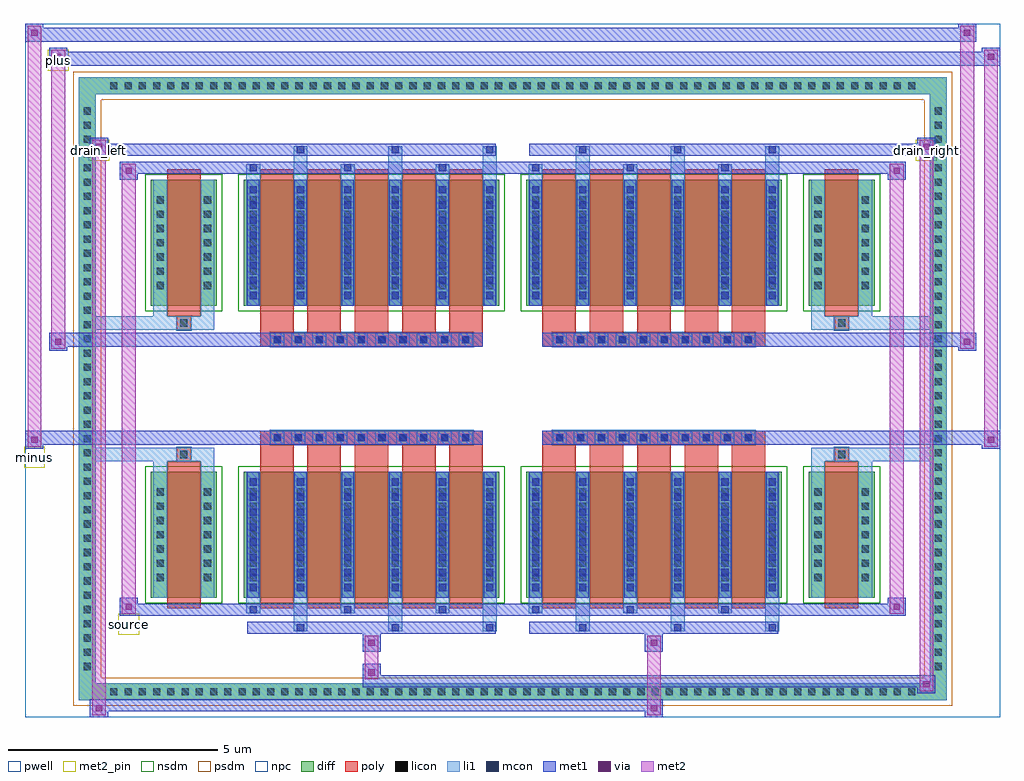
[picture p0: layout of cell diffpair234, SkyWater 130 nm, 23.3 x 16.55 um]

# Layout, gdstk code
import gdstk
lib = gdstk.Library(unit=1e-6, precision=5e-09)
def R(c, l, rs):  # rectangles x0, y0, x1, y1
    for r in rs: c.add(gdstk.rectangle(r[:2], r[2:], *l))
def A(c, l, x, y, w, h, nx, ny, dx, dy):  # array of equal rectangles
    R(c, l, [(x+i*dx, y+j*dy, x+i*dx+w, y+j*dy+h) for i in range(nx) for j in range(ny)])
def P(c, l, *ps):  # polygons
    for p in ps: c.add(gdstk.Polygon(p, *l))
pwell = (64, 44)
diff = (65, 20)
poly = (66, 20)
licon = (66, 44)
li1 = (67, 20)
mcon = (67, 44)
met1 = (68, 20)
via = (68, 44)
met2_pin = (69, 16)
met2 = (69, 20)
nsdm = (93, 44)
psdm = (94, 20)
npc = (95, 20)

diffpair234 = lib.new_cell('diffpair234')
R(diffpair234, pwell, [(-11.63,-7.84,11.63,8.71), (-8.95,-6.03,-0.01,-0.805), (0.01,-6.03,8.95,-0.805), (-8.95,0.805,-0.01,6.03), (0.01,0.805,8.95,6.03)])
A(diffpair234, diff, -9.725, -7.44, 0.41, 0.41, 57, 2, 0.34, 14.47)
A(diffpair234, diff, -10.36, -6.835, 0.41, 0.41, 1, 40, 0, 0.34)
A(diffpair234, diff, 9.95, -6.835, 0.41, 0.41, 1, 40, 0, 0.34)
R(diffpair234, diff, [(-9.725,-7.44,9.725,-7.03), (-10.36,-6.835,-9.95,6.835), (9.95,-6.835,10.36,6.835), (-8.64,-4.985,-7.06,-1.985), (-6.42,-4.985,-0.32,-1.985), (0.32,-4.985,6.42,-1.985), (7.06,-4.985,8.64,-1.985), (-8.64,1.985,-7.06,4.985), (-6.42,1.985,-0.32,4.985), (0.32,1.985,6.42,4.985), (7.06,1.985,8.64,4.985), (-9.725,7.03,9.725,7.44)])
P(diffpair234, diff, [(10.36,7.44),(-10.36,7.44),(-10.36,-7.03),(-9.95,-7.03),(-9.95,7.03),(9.95,7.03),(9.95,-7.03),(-9.95,-7.03),(-10.36,-7.03),(-10.36,-7.44),(10.36,-7.44)])
A(diffpair234, poly, -6.03, -5.235, 0.8, 3.5, 5, 2, 1.13, 6.97)
A(diffpair234, poly, 0.71, -5.235, 0.8, 3.5, 5, 2, 1.13, 6.97)
A(diffpair234, poly, -6.03, -1.735, 0.8, 0.4, 5, 2, 1.13, 3.07)
A(diffpair234, poly, 0.71, -1.735, 0.8, 0.4, 5, 2, 1.13, 3.07)
A(diffpair234, poly, -5.785, -1.335, 0.33, 0.33, 10, 2, 0.5, 2.34)
A(diffpair234, poly, 0.955, -1.335, 0.33, 0.33, 10, 2, 0.5, 2.34)
R(diffpair234, poly, [(-8.25,-5.235,-7.45,-1.735), (7.45,-5.235,8.25,-1.735), (-8.015,-1.735,-7.685,-1.405), (-8.015,-1.735,-7.685,-1.405), (7.685,-1.735,8.015,-1.405), (7.685,-1.735,8.015,-1.405), (-6.03,-1.335,-0.71,-1.005), (0.71,-1.335,6.03,-1.005), (-6.03,1.005,-0.71,1.335), (0.71,1.005,6.03,1.335), (-8.015,1.405,-7.685,1.735), (-8.015,1.405,-7.685,1.735), (7.685,1.405,8.015,1.735), (7.685,1.405,8.015,1.735), (-8.25,1.735,-7.45,5.235), (7.45,1.735,8.25,5.235)])
A(diffpair234, licon, -9.605, -7.32, 0.17, 0.17, 57, 2, 0.34, 14.47)
A(diffpair234, licon, -10.24, -6.715, 0.17, 0.17, 1, 40, 0, 0.34)
A(diffpair234, licon, 10.07, -6.715, 0.17, 0.17, 1, 40, 0, 0.34)
A(diffpair234, licon, -8.5, -4.59, 0.17, 0.17, 1, 7, 0, 0.34)
A(diffpair234, licon, -7.37, -4.59, 0.17, 0.17, 1, 7, 0, 0.34)
A(diffpair234, licon, -6.28, -4.59, 0.17, 0.17, 6, 7, 1.13, 0.34)
A(diffpair234, licon, 0.46, -4.59, 0.17, 0.17, 6, 7, 1.13, 0.34)
A(diffpair234, licon, 7.2, -4.59, 0.17, 0.17, 1, 7, 0, 0.34)
A(diffpair234, licon, 8.33, -4.59, 0.17, 0.17, 1, 7, 0, 0.34)
A(diffpair234, licon, -5.705, -1.255, 0.17, 0.17, 10, 2, 0.5, 2.34)
A(diffpair234, licon, 1.035, -1.255, 0.17, 0.17, 10, 2, 0.5, 2.34)
A(diffpair234, licon, -8.5, 2.38, 0.17, 0.17, 1, 7, 0, 0.34)
A(diffpair234, licon, -7.37, 2.38, 0.17, 0.17, 1, 7, 0, 0.34)
A(diffpair234, licon, -6.28, 2.38, 0.17, 0.17, 6, 7, 1.13, 0.34)
A(diffpair234, licon, 0.46, 2.38, 0.17, 0.17, 6, 7, 1.13, 0.34)
A(diffpair234, licon, 7.2, 2.38, 0.17, 0.17, 1, 7, 0, 0.34)
A(diffpair234, licon, 8.33, 2.38, 0.17, 0.17, 1, 7, 0, 0.34)
R(diffpair234, licon, [(-7.935,-1.655,-7.765,-1.485), (7.765,-1.655,7.935,-1.485), (-7.935,1.485,-7.765,1.655), (7.765,1.485,7.935,1.655)])
A(diffpair234, li1, -9.685, -7.4, 0.33, 0.33, 57, 2, 0.34, 14.47)
A(diffpair234, li1, -10.32, -6.795, 0.33, 0.33, 1, 40, 0, 0.34)
A(diffpair234, li1, 9.99, -6.795, 0.33, 0.33, 1, 40, 0, 0.34)
A(diffpair234, li1, -5.23, -5.79, 0.33, 0.805, 3, 2, 2.26, 10.775)
A(diffpair234, li1, -5.15, -5.79, 0.17, 0.17, 3, 2, 2.26, 11.41)
A(diffpair234, li1, 1.51, -5.79, 0.33, 0.805, 3, 2, 2.26, 10.775)
A(diffpair234, li1, 1.59, -5.79, 0.17, 0.17, 3, 2, 2.26, 11.41)
A(diffpair234, li1, -6.36, -5.36, 0.33, 0.375, 3, 2, 2.26, 10.345)
A(diffpair234, li1, -6.28, -5.36, 0.17, 0.17, 3, 2, 2.26, 10.55)
A(diffpair234, li1, 0.38, -5.36, 0.33, 0.375, 3, 2, 2.26, 10.345)
A(diffpair234, li1, 0.46, -5.36, 0.17, 0.17, 3, 2, 2.26, 10.55)
A(diffpair234, li1, -6.36, -4.985, 0.33, 3, 6, 2, 1.13, 6.97)
A(diffpair234, li1, 0.38, -4.985, 0.33, 3, 6, 2, 1.13, 6.97)
A(diffpair234, li1, -6.28, -4.83, 0.17, 0.17, 6, 8, 1.13, 0.36)
A(diffpair234, li1, -6.28, -4.83, 0.17, 2.69, 6, 2, 1.13, 6.97)
A(diffpair234, li1, 0.46, -4.83, 0.17, 0.17, 6, 8, 1.13, 0.36)
A(diffpair234, li1, 0.46, -4.83, 0.17, 2.69, 6, 2, 1.13, 6.97)
A(diffpair234, li1, -8.58, -4.67, 0.33, 0.33, 1, 7, 0, 0.34)
A(diffpair234, li1, -7.45, -4.67, 0.33, 0.33, 1, 7, 0, 0.34)
A(diffpair234, li1, -6.36, -4.67, 0.33, 0.33, 6, 7, 1.13, 0.34)
A(diffpair234, li1, 0.38, -4.67, 0.33, 0.33, 6, 7, 1.13, 0.34)
A(diffpair234, li1, 7.12, -4.67, 0.33, 0.33, 1, 7, 0, 0.34)
A(diffpair234, li1, 8.25, -4.67, 0.33, 0.33, 1, 7, 0, 0.34)
A(diffpair234, li1, -5.785, -1.335, 0.33, 0.33, 10, 2, 0.5, 2.34)
A(diffpair234, li1, 0.955, -1.335, 0.33, 0.33, 10, 2, 0.5, 2.34)
A(diffpair234, li1, -6.28, 2.14, 0.17, 0.17, 6, 8, 1.13, 0.36)
A(diffpair234, li1, 0.46, 2.14, 0.17, 0.17, 6, 8, 1.13, 0.36)
A(diffpair234, li1, -8.58, 2.3, 0.33, 0.33, 1, 7, 0, 0.34)
A(diffpair234, li1, -7.45, 2.3, 0.33, 0.33, 1, 7, 0, 0.34)
A(diffpair234, li1, -6.36, 2.3, 0.33, 0.33, 6, 7, 1.13, 0.34)
A(diffpair234, li1, 0.38, 2.3, 0.33, 0.33, 6, 7, 1.13, 0.34)
A(diffpair234, li1, 7.12, 2.3, 0.33, 0.33, 1, 7, 0, 0.34)
A(diffpair234, li1, 8.25, 2.3, 0.33, 0.33, 1, 7, 0, 0.34)
R(diffpair234, li1, [(-10.36,-7.44,-9.95,-7.03), (-10.36,-7.44,-9.95,-7.03), (-9.95,-7.44,9.95,-7.03), (9.95,-7.44,10.36,-7.03), (9.95,-7.44,10.36,-7.03), (-10.36,-7.03,-9.95,7.03), (9.95,-7.03,10.36,7.03), (-8.58,-4.985,-8.25,-1.985), (-7.45,-4.985,-7.12,-1.985), (7.12,-4.985,7.45,-1.985), (8.25,-4.985,8.58,-1.985), (-8.58,-1.985,-8.25,-1.405), (-7.45,-1.985,-7.12,-1.405), (7.12,-1.985,7.45,-1.405), (8.25,-1.985,8.58,-1.405), (-10.36,-1.735,-8.015,-1.405), (-8.58,-1.735,-8.015,-1.405), (-8.015,-1.735,-7.685,-1.405), (-7.685,-1.735,-7.12,-1.405), (7.12,-1.735,7.685,-1.405), (7.685,-1.735,8.015,-1.405), (7.685,-1.735,10.36,-1.405), (8.015,-1.735,8.58,-1.405), (-10.36,1.405,-8.015,1.735), (-8.58,1.405,-8.015,1.735), (-8.58,1.405,-8.25,1.985), (-8.015,1.405,-7.685,1.735), (-7.685,1.405,-7.12,1.735), (-7.45,1.405,-7.12,1.985), (7.12,1.405,7.685,1.735), (7.12,1.405,7.45,1.985), (7.685,1.405,8.015,1.735), (7.685,1.405,10.36,1.735), (8.015,1.405,8.58,1.735), (8.25,1.405,8.58,1.985), (-8.58,1.985,-8.25,4.985), (-7.45,1.985,-7.12,4.985), (7.12,1.985,7.45,4.985), (8.25,1.985,8.58,4.985), (-10.36,7.03,-9.95,7.44), (-10.36,7.03,-9.95,7.44), (-9.95,7.03,9.95,7.44), (9.95,7.03,10.36,7.44), (9.95,7.03,10.36,7.44)])
A(diffpair234, mcon, -5.15, -5.79, 0.17, 0.17, 3, 2, 2.26, 11.41)
A(diffpair234, mcon, 1.59, -5.79, 0.17, 0.17, 3, 2, 2.26, 11.41)
A(diffpair234, mcon, -6.28, -5.36, 0.17, 0.17, 3, 2, 2.26, 10.55)
A(diffpair234, mcon, 0.46, -5.36, 0.17, 0.17, 3, 2, 2.26, 10.55)
A(diffpair234, mcon, -6.28, -4.83, 0.17, 0.17, 6, 8, 1.13, 0.36)
A(diffpair234, mcon, 0.46, -4.83, 0.17, 0.17, 6, 8, 1.13, 0.36)
A(diffpair234, mcon, -5.705, -1.255, 0.17, 0.17, 10, 2, 0.5, 2.34)
A(diffpair234, mcon, 1.035, -1.255, 0.17, 0.17, 10, 2, 0.5, 2.34)
A(diffpair234, mcon, -6.28, 2.14, 0.17, 0.17, 6, 8, 1.13, 0.36)
A(diffpair234, mcon, 0.46, 2.14, 0.17, 0.17, 6, 8, 1.13, 0.36)
A(diffpair234, met1, -5.21, -5.85, 0.29, 0.29, 3, 2, 2.26, 11.41)
A(diffpair234, met1, 1.53, -5.85, 0.29, 0.29, 3, 2, 2.26, 11.41)
A(diffpair234, met1, -6.34, -5.42, 0.29, 0.29, 3, 2, 2.26, 10.55)
A(diffpair234, met1, 0.4, -5.42, 0.29, 0.29, 3, 2, 2.26, 10.55)
A(diffpair234, met1, -6.34, -4.985, 0.29, 3, 6, 2, 1.13, 6.97)
A(diffpair234, met1, 0.4, -4.985, 0.29, 3, 6, 2, 1.13, 6.97)
A(diffpair234, met1, -6.34, -4.89, 0.29, 0.29, 6, 8, 1.13, 0.36)
A(diffpair234, met1, 0.4, -4.89, 0.29, 0.29, 6, 8, 1.13, 0.36)
A(diffpair234, met1, -5.765, -1.315, 0.29, 0.29, 10, 2, 0.5, 2.34)
A(diffpair234, met1, 0.975, -1.315, 0.29, 0.29, 10, 2, 0.5, 2.34)
A(diffpair234, met1, -6.34, 2.08, 0.29, 0.29, 6, 8, 1.13, 0.36)
A(diffpair234, met1, 0.4, 2.08, 0.29, 0.29, 6, 8, 1.13, 0.36)
R(diffpair234, met1, [(-10.09,-7.84,-9.66,-7.41), (3.155,-7.84,3.585,-7.41), (-10.09,-7.7,3.585,-7.41), (9.66,-7.27,10.09,-6.84), (-3.585,-7.13,10.09,-6.84), (-3.585,-6.99,-3.155,-6.56), (-3.585,-6.28,-3.155,-5.85), (3.155,-6.28,3.585,-5.85), (-6.34,-5.85,-0.4,-5.56), (0.4,-5.85,6.34,-5.56), (-9.38,-5.42,-8.95,-4.99), (-9.38,-5.42,-6.34,-5.13), (-6.34,-5.42,-0.4,-5.13), (-0.4,-5.42,0.4,-5.13), (0.4,-5.42,6.34,-5.13), (6.34,-5.42,9.38,-5.13), (8.95,-5.42,9.38,-4.99), (-11.63,-1.435,-11.2,-1.005), (11.2,-1.435,11.63,-1.005), (-11.63,-1.335,-0.71,-1.005), (-6.03,-1.335,-0.71,-1.005), (0.71,-1.335,6.03,-1.005), (0.71,-1.335,11.63,-1.005), (-11.06,0.905,-10.63,1.335), (10.63,0.905,11.06,1.335), (-11.06,1.005,-6.03,1.335), (-6.03,1.005,-0.71,1.335), (0.71,1.005,6.03,1.335), (6.03,1.005,11.06,1.335), (-9.38,4.99,-8.95,5.42), (8.95,4.99,9.38,5.42), (-9.38,5.13,-6.34,5.42), (-6.34,5.13,-0.4,5.42), (-0.4,5.13,0.4,5.42), (0.4,5.13,6.34,5.42), (6.34,5.13,9.38,5.42), (-10.09,5.56,-9.66,5.99), (-10.09,5.56,-6.34,5.85), (-6.34,5.56,-0.4,5.85), (0.4,5.56,6.34,5.85), (6.34,5.56,10.09,5.85), (9.66,5.56,10.09,5.99), (-11.06,7.71,-10.63,8.14), (-11.06,7.71,-8.95,8.04), (-8.95,7.71,8.95,8.04), (8.95,7.71,11.63,8.04), (11.2,7.71,11.63,8.14), (-11.63,8.28,-11.2,8.71), (-11.63,8.28,-8.95,8.61), (-8.95,8.28,8.95,8.61), (8.95,8.28,11.06,8.61), (10.63,8.28,11.06,8.71)])
R(diffpair234, via, [(-9.95,-7.7,-9.8,-7.55), (3.295,-7.7,3.445,-7.55), (9.8,-7.13,9.95,-6.98), (-3.445,-6.85,-3.295,-6.7), (-3.445,-6.14,-3.295,-5.99), (3.295,-6.14,3.445,-5.99), (-9.24,-5.28,-9.09,-5.13), (9.09,-5.28,9.24,-5.13), (-11.49,-1.295,-11.34,-1.145), (11.34,-1.295,11.49,-1.145), (-10.92,1.045,-10.77,1.195), (10.77,1.045,10.92,1.195), (-9.24,5.13,-9.09,5.28), (9.09,5.13,9.24,5.28), (-9.95,5.7,-9.8,5.85), (9.8,5.7,9.95,5.85), (-10.92,7.85,-10.77,8), (11.34,7.85,11.49,8), (-11.49,8.42,-11.34,8.57), (10.77,8.42,10.92,8.57)])
R(diffpair234, met2_pin, [(-9.415,-5.87,-8.915,-5.37), (-11.665,-1.885,-11.165,-1.385), (-10.125,5.44,-9.625,5.94), (9.625,5.44,10.125,5.94), (-11.095,7.59,-10.595,8.09)])
R(diffpair234, met2, [(-10.04,-7.79,-9.71,-7.46), (-10.04,-7.79,-9.71,5.94), (3.205,-7.79,3.535,-7.46), (3.205,-7.46,3.535,-6.23), (9.71,-7.22,10.04,-6.89), (9.71,-7.22,10.04,5.94), (-3.535,-6.94,-3.205,-6.61), (-3.535,-6.61,-3.205,-6.23), (-3.535,-6.23,-3.205,-5.9), (3.205,-6.23,3.535,-5.9), (-9.33,-5.37,-9,-5.04), (-9.33,-5.37,-9,5.37), (9,-5.37,9.33,-5.04), (9,-5.37,9.33,5.37), (-11.58,-1.385,-11.25,-1.055), (-11.58,-1.385,-11.25,8.66), (11.25,-1.385,11.58,-1.055), (11.25,-1.385,11.58,8.09), (-11.01,0.955,-10.68,1.285), (-11.01,0.955,-10.68,8.09), (10.68,0.955,11.01,1.285), (10.68,0.955,11.01,8.66), (-9.33,5.04,-9,5.37), (9,5.04,9.33,5.37), (-10.04,5.61,-9.71,5.94), (9.71,5.61,10.04,5.94), (-11.01,7.76,-10.68,8.09), (11.25,7.76,11.58,8.09), (-11.58,8.33,-11.25,8.66), (10.68,8.33,11.01,8.66)])
P(diffpair234, met2, [(11.58,-1.385),(11.58,-1.385),(11.58,-1.055),(11.58,-1.055)],
  [(11.58,7.76),(11.58,7.76),(11.58,8.09),(11.58,8.09)],
  [(-11.25,-1.385),(-11.25,-1.385),(-11.25,-1.055),(-11.25,-1.055)],
  [(-11.25,8.33),(-11.25,8.33),(-11.25,8.66),(-11.25,8.66)],
  [(11.01,0.955),(11.01,0.955),(11.01,1.285),(11.01,1.285)],
  [(11.01,8.33),(11.01,8.33),(11.01,8.66),(11.01,8.66)],
  [(-10.68,0.955),(-10.68,0.955),(-10.68,1.285),(-10.68,1.285)],
  [(-10.68,7.76),(-10.68,7.76),(-10.68,8.09),(-10.68,8.09)],
  [(-9.71,-7.79),(-9.71,-7.79),(-9.71,-7.46),(-9.71,-7.46)],
  [(-9.71,5.61),(-9.71,5.61),(-9.71,5.94),(-9.71,5.94)],
  [(10.04,-7.22),(10.04,-7.22),(10.04,-6.89),(10.04,-6.89)],
  [(10.04,5.61),(10.04,5.61),(10.04,5.94),(10.04,5.94)],
  [(-9,-5.37),(-9,-5.37),(-9,-5.04),(-9,-5.04)],
  [(-9,5.04),(-9,5.04),(-9,5.37),(-9,5.37)],
  [(9.33,-5.37),(9.33,-5.37),(9.33,-5.04),(9.33,-5.04)],
  [(9.33,5.04),(9.33,5.04),(9.33,5.37),(9.33,5.37)])
R(diffpair234, nsdm, [(-8.77,-5.115,-6.93,-1.855), (-6.55,-5.115,-0.19,-1.855), (0.19,-5.115,6.55,-1.855), (6.93,-5.115,8.77,-1.855), (-8.77,1.855,-6.93,5.115), (-6.55,1.855,-0.19,5.115), (0.19,1.855,6.55,5.115), (6.93,1.855,8.77,5.115)])
P(diffpair234, psdm, [(10.49,7.57),(-10.49,7.57),(-10.49,-6.9),(-9.82,-6.9),(-9.82,6.9),(9.82,6.9),(9.82,-6.9),(-9.82,-6.9),(-10.49,-6.9),(-10.49,-7.57),(10.49,-7.57)])
A(diffpair234, npc, -5.805, -1.355, 0.37, 0.37, 10, 2, 0.5, 2.34)
A(diffpair234, npc, 0.935, -1.355, 0.37, 0.37, 10, 2, 0.5, 2.34)
R(diffpair234, npc, [(-8.035,-1.755,-7.665,-1.385), (7.665,-1.755,8.035,-1.385), (-5.805,-1.355,-4.935,-0.985), (-5.805,-1.355,-4.935,-0.985), (-5.305,-1.355,-4.435,-0.985), (-5.305,-1.355,-4.435,-0.985), (-4.805,-1.355,-3.935,-0.985), (-4.805,-1.355,-3.935,-0.985), (-4.305,-1.355,-3.435,-0.985), (-4.305,-1.355,-3.435,-0.985), (-3.805,-1.355,-2.935,-0.985), (-3.805,-1.355,-2.935,-0.985), (-3.305,-1.355,-2.435,-0.985), (-3.305,-1.355,-2.435,-0.985), (-2.805,-1.355,-1.935,-0.985), (-2.805,-1.355,-1.935,-0.985), (-2.305,-1.355,-1.435,-0.985), (-2.305,-1.355,-1.435,-0.985), (-1.805,-1.355,-0.935,-0.985), (-1.805,-1.355,-0.935,-0.985), (0.935,-1.355,1.805,-0.985), (0.935,-1.355,1.805,-0.985), (1.435,-1.355,2.305,-0.985), (1.435,-1.355,2.305,-0.985), (1.935,-1.355,2.805,-0.985), (1.935,-1.355,2.805,-0.985), (2.435,-1.355,3.305,-0.985), (2.435,-1.355,3.305,-0.985), (2.935,-1.355,3.805,-0.985), (2.935,-1.355,3.805,-0.985), (3.435,-1.355,4.305,-0.985), (3.435,-1.355,4.305,-0.985), (3.935,-1.355,4.805,-0.985), (3.935,-1.355,4.805,-0.985), (4.435,-1.355,5.305,-0.985), (4.435,-1.355,5.305,-0.985), (4.935,-1.355,5.805,-0.985), (4.935,-1.355,5.805,-0.985), (-5.805,0.985,-4.935,1.355), (-5.805,0.985,-4.935,1.355), (-5.305,0.985,-4.435,1.355), (-5.305,0.985,-4.435,1.355), (-4.805,0.985,-3.935,1.355), (-4.805,0.985,-3.935,1.355), (-4.305,0.985,-3.435,1.355), (-4.305,0.985,-3.435,1.355), (-3.805,0.985,-2.935,1.355), (-3.805,0.985,-2.935,1.355), (-3.305,0.985,-2.435,1.355), (-3.305,0.985,-2.435,1.355), (-2.805,0.985,-1.935,1.355), (-2.805,0.985,-1.935,1.355), (-2.305,0.985,-1.435,1.355), (-2.305,0.985,-1.435,1.355), (-1.805,0.985,-0.935,1.355), (-1.805,0.985,-0.935,1.355), (0.935,0.985,1.805,1.355), (0.935,0.985,1.805,1.355), (1.435,0.985,2.305,1.355), (1.435,0.985,2.305,1.355), (1.935,0.985,2.805,1.355), (1.935,0.985,2.805,1.355), (2.435,0.985,3.305,1.355), (2.435,0.985,3.305,1.355), (2.935,0.985,3.805,1.355), (2.935,0.985,3.805,1.355), (3.435,0.985,4.305,1.355), (3.435,0.985,4.305,1.355), (3.935,0.985,4.805,1.355), (3.935,0.985,4.805,1.355), (4.435,0.985,5.305,1.355), (4.435,0.985,5.305,1.355), (4.935,0.985,5.805,1.355), (4.935,0.985,5.805,1.355), (-8.035,1.385,-7.665,1.755), (7.665,1.385,8.035,1.755)])
diffpair234.add(gdstk.Label('minus', (-11.415,-1.635), layer=69, texttype=5))
diffpair234.add(gdstk.Label('drain_right', (9.875,5.69), layer=69, texttype=5))
diffpair234.add(gdstk.Label('drain_left', (-9.875,5.69), layer=69, texttype=5))
diffpair234.add(gdstk.Label('source', (-9.165,-5.62), layer=69, texttype=5))
diffpair234.add(gdstk.Label('plus', (-10.845,7.84), layer=69, texttype=5))

lib.write_gds('diffpair234.gds')
